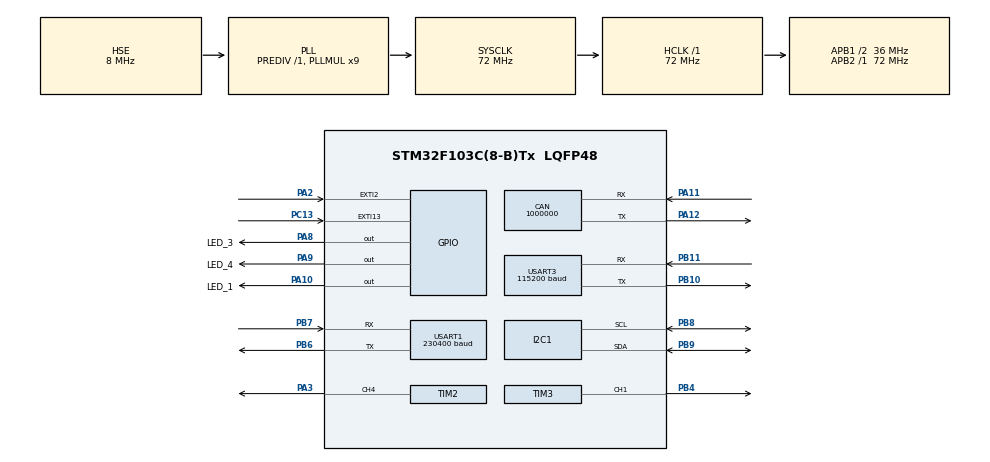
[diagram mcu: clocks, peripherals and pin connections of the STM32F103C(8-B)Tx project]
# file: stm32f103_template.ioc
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CAN.CalculateBaudRate=1000000
CAN.CalculateTimeBit=1000
CAN.CalculateTimeQuantum=83.33333333333333
Dma.I2C1_RX.2.Direction=DMA_PERIPH_TO_MEMORY
Dma.I2C1_RX.2.Instance=DMA1_Channel7
Dma.I2C1_RX.2.MemDataAlignment=DMA_MDATAALIGN_BYTE
Dma.I2C1_RX.2.MemInc=DMA_MINC_ENABLE
Dma.I2C1_RX.2.Mode=DMA_NORMAL
Dma.I2C1_RX.2.PeriphDataAlignment=DMA_PDATAALIGN_BYTE
Dma.I2C1_RX.2.PeriphInc=DMA_PINC_DISABLE
Dma.I2C1_RX.2.Priority=DMA_PRIORITY_VERY_HIGH
Dma.I2C1_TX.3.Direction=DMA_MEMORY_TO_PERIPH
Dma.I2C1_TX.3.Instance=DMA1_Channel6
Dma.I2C1_TX.3.MemDataAlignment=DMA_MDATAALIGN_BYTE
Dma.I2C1_TX.3.MemInc=DMA_MINC_ENABLE
Dma.I2C1_TX.3.Mode=DMA_NORMAL
Dma.I2C1_TX.3.PeriphDataAlignment=DMA_PDATAALIGN_BYTE
Dma.I2C1_TX.3.PeriphInc=DMA_PINC_DISABLE
Dma.I2C1_TX.3.Priority=DMA_PRIORITY_VERY_HIGH
Dma.Request0=USART1_TX
Dma.Request1=USART1_RX
Dma.Request2=I2C1_RX
Dma.Request3=I2C1_TX
Dma.Request4=USART3_RX
Dma.Request5=USART3_TX
Dma.USART1_RX.1.Direction=DMA_PERIPH_TO_MEMORY
Dma.USART1_RX.1.Instance=DMA1_Channel5
Dma.USART1_RX.1.MemDataAlignment=DMA_MDATAALIGN_BYTE
Dma.USART1_RX.1.MemInc=DMA_MINC_ENABLE
Dma.USART1_RX.1.Mode=DMA_NORMAL
Dma.USART1_RX.1.PeriphDataAlignment=DMA_PDATAALIGN_BYTE
Dma.USART1_RX.1.PeriphInc=DMA_PINC_DISABLE
Dma.USART1_RX.1.Priority=DMA_PRIORITY_VERY_HIGH
Dma.USART1_TX.0.Direction=DMA_MEMORY_TO_PERIPH
Dma.USART1_TX.0.Instance=DMA1_Channel4
Dma.USART1_TX.0.MemDataAlignment=DMA_MDATAALIGN_BYTE
Dma.USART1_TX.0.MemInc=DMA_MINC_ENABLE
Dma.USART1_TX.0.Mode=DMA_NORMAL
Dma.USART1_TX.0.PeriphDataAlignment=DMA_PDATAALIGN_BYTE
Dma.USART1_TX.0.PeriphInc=DMA_PINC_DISABLE
Dma.USART1_TX.0.Priority=DMA_PRIORITY_VERY_HIGH
Dma.USART3_RX.4.Direction=DMA_PERIPH_TO_MEMORY
Dma.USART3_RX.4.Instance=DMA1_Channel3
Dma.USART3_RX.4.MemDataAlignment=DMA_MDATAALIGN_BYTE
Dma.USART3_RX.4.MemInc=DMA_MINC_ENABLE
Dma.USART3_RX.4.Mode=DMA_NORMAL
Dma.USART3_RX.4.PeriphDataAlignment=DMA_PDATAALIGN_BYTE
Dma.USART3_RX.4.PeriphInc=DMA_PINC_DISABLE
Dma.USART3_RX.4.Priority=DMA_PRIORITY_VERY_HIGH
Dma.USART3_TX.5.Direction=DMA_MEMORY_TO_PERIPH
Dma.USART3_TX.5.Instance=DMA1_Channel2
Dma.USART3_TX.5.MemDataAlignment=DMA_MDATAALIGN_BYTE
Dma.USART3_TX.5.MemInc=DMA_MINC_ENABLE
Dma.USART3_TX.5.Mode=DMA_NORMAL
Dma.USART3_TX.5.PeriphDataAlignment=DMA_PDATAALIGN_BYTE
Dma.USART3_TX.5.PeriphInc=DMA_PINC_DISABLE
Dma.USART3_TX.5.Priority=DMA_PRIORITY_VERY_HIGH
I2C1.AddressingMode=I2C_ADDRESSINGMODE_7BIT
I2C1.DualAddressMode=I2C_DUALADDRESS_DISABLE
I2C1.GeneralCallMode=I2C_GENERALCALL_DISABLE
I2C1.I2C_Mode=I2C_Standard
I2C1.NoStretchMode=I2C_NOSTRETCH_DISABLE
I2C1.OwnAddress=0
Mcu.Family=STM32F1
Mcu.Name=STM32F103C(8-B)Tx
Mcu.Package=LQFP48
NVIC.USB_LP_CAN1_RX0_IRQn=true\:5\:0\:false\:false\:true\:true\:true\:true\:true
NVIC.DMA1_Channel2_IRQn=true\:5\:0\:false\:false\:true\:true\:false\:true\:true
NVIC.DMA1_Channel3_IRQn=true\:5\:0\:false\:false\:true\:true\:false\:true\:true
NVIC.DMA1_Channel4_IRQn=true\:5\:0\:false\:false\:true\:true\:false\:true\:true
NVIC.DMA1_Channel5_IRQn=true\:5\:0\:false\:false\:true\:true\:false\:true\:true
NVIC.DMA1_Channel6_IRQn=true\:5\:0\:false\:false\:true\:true\:false\:true\:true
NVIC.DMA1_Channel7_IRQn=true\:5\:0\:false\:false\:true\:true\:false\:true\:true
NVIC.EXTI15_10_IRQn=true\:5\:0\:false\:false\:true\:true\:true\:true\:true
NVIC.EXTI2_IRQn=true\:5\:0\:false\:false\:true\:true\:true\:true\:true
NVIC.I2C1_ER_IRQn=true\:5\:0\:false\:false\:true\:true\:true\:true\:true
NVIC.I2C1_EV_IRQn=true\:5\:0\:false\:false\:true\:true\:true\:true\:true
NVIC.PriorityGroup=NVIC_PRIORITYGROUP_4
NVIC.TIM1_UP_IRQn=true\:15\:0\:false\:false\:true\:false\:false\:true\:true
NVIC.TIM2_IRQn=true\:5\:0\:false\:false\:true\:true\:true\:true\:true
NVIC.TIM3_IRQn=true\:5\:0\:false\:false\:true\:true\:true\:true\:true
NVIC.TimeBase=TIM1_UP_IRQn
NVIC.TimeBaseIP=TIM1
NVIC.USART1_IRQn=true\:5\:0\:false\:false\:true\:true\:false\:true\:true
NVIC.USART3_IRQn=true\:5\:0\:false\:false\:true\:true\:true\:true\:true
PA10.GPIO_Label=LED_1
PA10.GPIO_ModeDefaultOutputPP=GPIO_MODE_OUTPUT_OD
PA10.GPIO_PuPd=GPIO_NOPULL
PA10.Signal=GPIO_Output
PA11.Mode=CAN_Activate
PA11.Signal=CAN_RX
PA12.Mode=CAN_Activate
PA12.Signal=CAN_TX
PA13.Mode=Serial_Wire
PA13.Signal=SYS_JTMS-SWDIO
PA14.Mode=Serial_Wire
PA14.Signal=SYS_JTCK-SWCLK
PA2.GPIO_PuPd=GPIO_NOPULL
PA2.Signal=GPXTI2
PA3.GPIO_Speed=GPIO_SPEED_FREQ_LOW
PA3.Signal=S_TIM2_CH4
PA8.GPIO_Label=LED_3
PA8.GPIO_ModeDefaultOutputPP=GPIO_MODE_OUTPUT_OD
PA8.GPIO_PuPd=GPIO_NOPULL
PA8.Signal=GPIO_Output
PA9.GPIO_Label=LED_4
PA9.GPIO_ModeDefaultOutputPP=GPIO_MODE_OUTPUT_OD
PA9.GPIO_PuPd=GPIO_NOPULL
PA9.Signal=GPIO_Output
PB10.Mode=Asynchronous
PB10.Signal=USART3_TX
PB11.Mode=Asynchronous
PB11.Signal=USART3_RX
PB4.GPIO_Speed=GPIO_SPEED_FREQ_LOW
PB4.Signal=S_TIM3_CH1
PB6.Mode=Asynchronous
PB6.Signal=USART1_TX
PB7.Mode=Asynchronous
PB7.Signal=USART1_RX
PB8.GPIO_Speed=GPIO_SPEED_FREQ_HIGH
PB8.Mode=I2C
PB8.Signal=I2C1_SCL
PB9.GPIO_Mode=GPIO_MODE_AF_OD
PB9.Mode=I2C
PB9.Signal=I2C1_SDA
PC13-TAMPER-RTC.GPIO_PuPd=GPIO_NOPULL
PC13-TAMPER-RTC.Signal=GPXTI13
PD0-OSC_IN.Mode=HSE-External-Oscillator
PD0-OSC_IN.Signal=RCC_OSC_IN
PD1-OSC_OUT.Mode=HSE-External-Oscillator
PD1-OSC_OUT.Signal=RCC_OSC_OUT
ProjectManager.HeapSize=0x200
ProjectManager.StackSize=0x400
ProjectManager.TargetToolchain=MDK-ARM V5.32
RCC.AHBFreq_Value=72000000
RCC.APB1CLKDivider=RCC_HCLK_DIV2
RCC.APB1Freq_Value=36000000
RCC.APB1TimFreq_Value=72000000
RCC.APB2Freq_Value=72000000
RCC.APB2TimFreq_Value=72000000
RCC.FLatency=FLASH_LATENCY_2
RCC.HCLKFreq_Value=72000000
RCC.PLLMUL=RCC_PLL_MUL9
RCC.PLLSourceVirtual=RCC_PLLSOURCE_HSE
RCC.SYSCLKFreq_VALUE=72000000
RCC.SYSCLKSource=RCC_SYSCLKSOURCE_PLLCLK
RCC.USBFreq_Value=72000000
SH.S_TIM2_CH4.0=TIM2_CH4,PWM Generation4 CH4
SH.S_TIM3_CH1.0=TIM3_CH1,PWM Generation1 CH1
TIM2.AutoReloadPreload=TIM_AUTORELOAD_PRELOAD_ENABLE
TIM2.Channel-PWM\ Generation4\ CH4=TIM_CHANNEL_4
TIM2.ClockDivision=TIM_CLOCKDIVISION_DIV1
TIM2.CounterMode=TIM_COUNTERMODE_UP
TIM2.OC4Preload_PWM=ENABLE
TIM2.OCFastMode_PWM-PWM\ Generation4\ CH4=TIM_OCFAST_DISABLE
TIM2.OCMode_PWM-PWM\ Generation4\ CH4=TIM_OCMODE_PWM1
TIM2.OCPolarity_4=TIM_OCPOLARITY_HIGH
TIM2.Period=89
TIM2.Prescaler=0
TIM2.Pulse-PWM\ Generation4\ CH4=0
TIM2.TIM_MasterOutputTrigger=TIM_TRGO_RESET
TIM2.TIM_MasterSlaveMode=TIM_MASTERSLAVEMODE_DISABLE
TIM3.AutoReloadPreload=TIM_AUTORELOAD_PRELOAD_ENABLE
TIM3.Channel-PWM\ Generation1\ CH1=TIM_CHANNEL_1
TIM3.Period=89
USART1.BaudRate=230400
USART1.Mode=MODE_TX_RX
USART1.Parity=PARITY_NONE
USART1.StopBits=STOPBITS_1
USART1.VirtualMode=VM_ASYNC
USART1.WordLength=WORDLENGTH_8B
USART3.BaudRate=115200
USART3.Mode=MODE_TX_RX
USART3.Parity=PARITY_NONE
USART3.StopBits=STOPBITS_1
USART3.VirtualMode=VM_ASYNC
USART3.WordLength=WORDLENGTH_8B
VP_SYS_VS_tim1.Mode=TIM1
board=custom

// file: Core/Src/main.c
/* USER CODE BEGIN Header */
/**
  ******************************************************************************
  * @file           : main.c
  * @brief          : Main program body
  ******************************************************************************
  * @attention
  *
  * Copyright (c) 2026 STMicroelectronics.
  * All rights reserved.
  *
  * This software is licensed under terms that can be found in the LICENSE file
  * in the root directory of this software component.
  * If no LICENSE file comes with this software, it is provided AS-IS.
  *
  ******************************************************************************
  */
/* USER CODE END Header */
#include "main.h"
#include "can.h"
#include "dma.h"
#include "i2c.h"
#include "tim.h"
#include "usart.h"
#include "gpio.h"

/* USER CODE BEGIN Includes */
#include "stm32_template.h"
#include "stm32_template_config.h"
#if TEMPLATE_USE_DART_OLED_UI
#include "oled_ui.h"
#endif

/* USER CODE END Includes */

void SystemClock_Config(void);

/* USER CODE BEGIN 0 */

/* Kept global so the latest sample is easy to inspect in a debugger. */
stm32_template_data_t g_stm32_template_data;

/* USER CODE END 0 */

int main(void)
{

  /* MCU Configuration--------------------------------------------------------*/

  /* Reset of all peripherals, Initializes the Flash interface and the Systick. */
  HAL_Init();

  /* Configure the system clock */
  SystemClock_Config();

  /* Initialize all configured peripherals */
  MX_GPIO_Init();
#if TEMPLATE_BOARD_DMA_ENABLED
  MX_DMA_Init();
#endif
#if TEMPLATE_BOARD_I2C1_ENABLED
  MX_I2C1_Init();
#endif
#if TEMPLATE_BOARD_USART1_ENABLED
  MX_USART1_UART_Init();
#endif
#if TEMPLATE_BOARD_USART3_ENABLED
  MX_USART3_UART_Init();
#endif
#if TEMPLATE_USE_BOARD_PWM
  MX_TIM2_Init();
  MX_TIM3_Init();
#endif
#if TEMPLATE_BOARD_CAN_ENABLED
  MX_CAN_Init();
#endif
  /* USER CODE BEGIN 2 */
  stm32_template_init();
#if TEMPLATE_USE_DART_OLED_UI
  oled_ui_init();
#endif

  /* USER CODE END 2 */

  /* Infinite loop */
  /* USER CODE BEGIN WHILE */
#if TEMPLATE_USE_LOADCELL
  uint32_t last_loadcell_poll_ms = HAL_GetTick() - TEMPLATE_LOADCELL_POLL_INTERVAL_MS;
#endif
  while (1)
  {
    /* USER CODE END WHILE */

    /* USER CODE BEGIN 3 */
#if TEMPLATE_USE_LOADCELL
    if ((HAL_GetTick() - last_loadcell_poll_ms) >= TEMPLATE_LOADCELL_POLL_INTERVAL_MS)
    {
      last_loadcell_poll_ms = HAL_GetTick();
      (void)stm32_template_read(&g_stm32_template_data);
    }
#endif
#if TEMPLATE_USE_DART_OLED_UI
    oled_ui_task();
#endif
    HAL_Delay(1U);
  }
  /* USER CODE END 3 */
}

void SystemClock_Config(void)
{
  RCC_OscInitTypeDef RCC_OscInitStruct = {0};
  RCC_ClkInitTypeDef RCC_ClkInitStruct = {0};

  /** Initializes the RCC Oscillators according to the specified parameters
  * in the RCC_OscInitTypeDef structure.
  */
  RCC_OscInitStruct.OscillatorType = RCC_OSCILLATORTYPE_HSE;
  RCC_OscInitStruct.HSEState = RCC_HSE_ON;
  RCC_OscInitStruct.HSEPredivValue = RCC_HSE_PREDIV_DIV1;
  RCC_OscInitStruct.HSIState = RCC_HSI_ON;
  RCC_OscInitStruct.PLL.PLLState = RCC_PLL_ON;
  RCC_OscInitStruct.PLL.PLLSource = RCC_PLLSOURCE_HSE;
  RCC_OscInitStruct.PLL.PLLMUL = RCC_PLL_MUL9;
  if (HAL_RCC_OscConfig(&RCC_OscInitStruct) != HAL_OK)
  {
    Error_Handler();
  }

  /** Initializes the CPU, AHB and APB buses clocks
  */
  RCC_ClkInitStruct.ClockType = RCC_CLOCKTYPE_HCLK|RCC_CLOCKTYPE_SYSCLK
                              |RCC_CLOCKTYPE_PCLK1|RCC_CLOCKTYPE_PCLK2;
  RCC_ClkInitStruct.SYSCLKSource = RCC_SYSCLKSOURCE_PLLCLK;
  RCC_ClkInitStruct.AHBCLKDivider = RCC_SYSCLK_DIV1;
  RCC_ClkInitStruct.APB1CLKDivider = RCC_HCLK_DIV2;
  RCC_ClkInitStruct.APB2CLKDivider = RCC_HCLK_DIV1;

  if (HAL_RCC_ClockConfig(&RCC_ClkInitStruct, FLASH_LATENCY_2) != HAL_OK)
  {
    Error_Handler();
  }
}

void HAL_TIM_PeriodElapsedCallback(TIM_HandleTypeDef *htim)
{
  if (htim->Instance == TIM1) {
    HAL_IncTick();
  }
}

void Error_Handler(void)
{
  __disable_irq();
  while (1)
  {
  }
}
